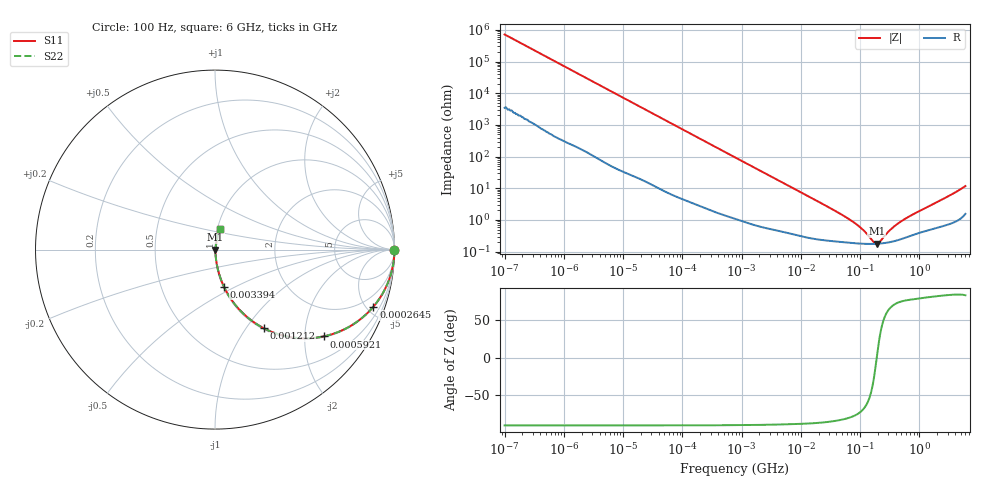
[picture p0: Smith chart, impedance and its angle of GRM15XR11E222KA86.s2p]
!Murata Part Number: GRM15XR11E222KA86
!These Parameters are Measured in Series Mode Connection
!Data Generated on Mar 30, 2021
!  o--ll--o
!Port1  Port2
!  o------o
!Operation Temp=25[degC], DC Bias Voltage=0[V]
!Freq. Start=100[Hz] Stop=6[GHz] 401[Steps]
# Hz S RI R 50
!Freq.(Hz) S11(Real) S11(Imag) S21(Real) S21(Imag) S12(Real) S12(Imag) S22(Real) S22(Imag)
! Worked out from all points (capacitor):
!   401 points, 100 Hz to 6 GHz, reference 50 ohm
!   read as one part in series: C = 2.23 nF near 109 Hz
!   lowest |Z| = 179 mohm at 190.9 MHz (marker M1)
!   series resonance near 191.4 MHz, so ESL is about 310 pH
!   S11 on the Smith chart (normalised r, x): 100 Hz: open; 264.5 kHz: 1.04, -5.53; 592.1 kHz: 1.03, -2.48; 1.212 MHz: 1.02, -1.22; 3.394 MHz: 1.01, -0.44; 6 GHz: 1.03, +0.23
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100  1 -0.00014  7e-07 0.00014  7e-07 0.00014  1 -0.00014
2008  1 -0.00279  2.08e-05 0.00279  2.08e-05 0.00279  1 -0.00279
40335  0.9966 -0.0554  0.00338 0.0554  0.00338 0.0554  0.9966 -0.0554
108014  0.9776 -0.1449  0.0224 0.1449  0.0224 0.1449  0.9776 -0.1449
264476  0.8823 -0.3183  0.1177 0.3183  0.1177 0.3183  0.8823 -0.3183
395726  0.7719 -0.4151  0.2281 0.4151  0.2281 0.4151  0.7719 -0.4151
592111  0.6045 -0.4838  0.3955 0.4838  0.3955 0.4838  0.6045 -0.4838
774597  0.474 -0.4936  0.526 0.4936  0.526 0.4936  0.474 -0.4936
1212075  0.2726 -0.4385  0.7274 0.4385  0.7274 0.4385  0.2726 -0.4385
1983483  0.126 -0.3236  0.874 0.3236  0.874 0.3236  0.126 -0.3236
3394479  0.0499 -0.2066  0.9501 0.2066  0.9501 0.2066  0.0499 -0.2066
6644369  0.0161 -0.1102  0.9839 0.1102  0.9839 0.1102  0.0161 -0.1102
1.555665e7  0.00491 -0.0479  0.9951 0.0479  0.9951 0.0479  0.00491 -0.0479
7.455971e7  0.00195 -0.0088  0.998 0.0088  0.998 0.0088  0.00195 -0.0088
1.115611e8  0.0018 -0.00462  0.9982 0.00462  0.9982 0.00462  0.0018 -0.00462
1.669249e8  0.00177 -0.00112  0.9982 0.00112  0.9982 0.00112  0.00177 -0.00112
1.909225e8  0.00178 -2.18e-05  0.9982 2.18e-05  0.9982 2.18e-05  0.00178 -2.18e-05
2.183701e8  0.00181 0.00108  0.9982 -0.00108  0.9982 -0.00108  0.00181 0.00108
3.124326e8  0.002 0.00414  0.998 -0.00414  0.998 -0.00414  0.002 0.00414
4.274388e8  0.00234 0.00716  0.9977 -0.00716  0.9977 -0.00716  0.00234 0.00716
6.395615e8  0.00309 0.0118  0.9969 -0.0118  0.9969 -0.0118  0.00309 0.0118
6e9  0.0284 0.1121  0.9716 -0.1121  0.9716 -0.1121  0.0284 0.1121
